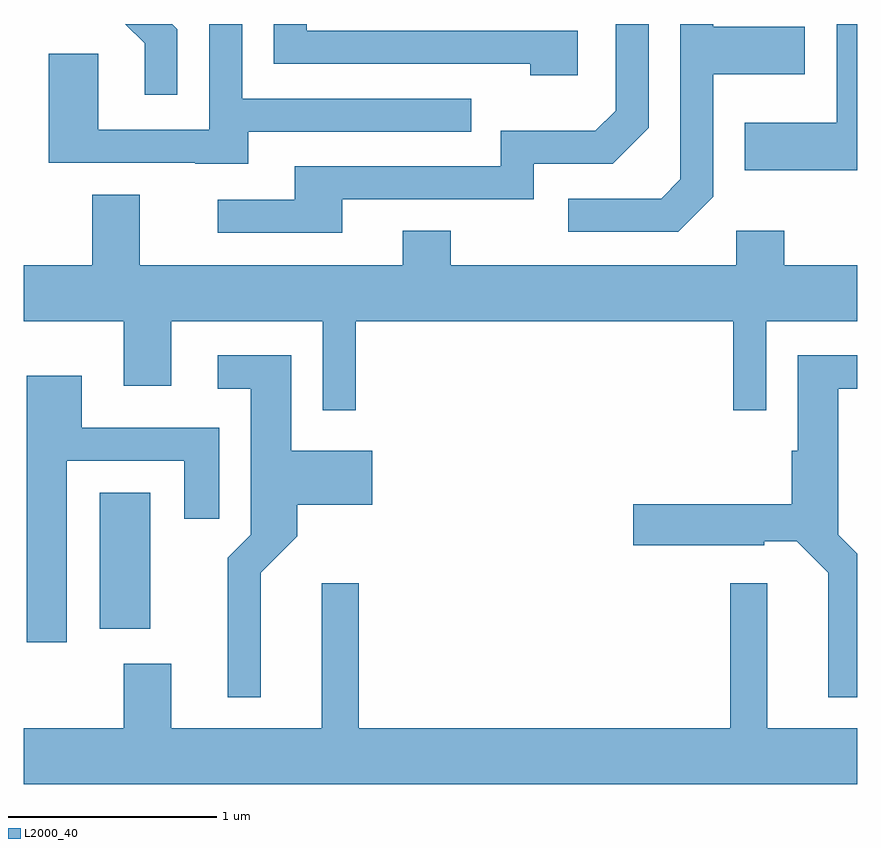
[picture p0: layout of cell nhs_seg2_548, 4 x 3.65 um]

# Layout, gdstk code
import gdstk
lib = gdstk.Library(unit=1e-6, precision=1e-09)
def R(c, l, rs):  # rectangles x0, y0, x1, y1
    for r in rs: c.add(gdstk.rectangle(r[:2], r[2:], *l))
def P(c, l, *ps):  # polygons
    for p in ps: c.add(gdstk.Polygon(p, *l))
L2000_40 = (2000, 40)

nhs_seg2_548 = lib.new_cell('nhs_seg2_548')
R(nhs_seg2_548, L2000_40, [(201.976,986.901,202.219,987.554)])
P(nhs_seg2_548, L2000_40, [(203.139,988.961),(204.059,988.961),(204.059,989.131),(204.437,989.131),(204.609,989.304),(204.609,989.802),(204.451,989.802),(204.451,989.387),(204.354,989.289),(203.901,989.289),(203.901,989.119),(202.911,989.119),(202.911,988.959),(202.543,988.959),(202.543,988.801),(203.139,988.801)],
  [(204.919,988.974),(204.919,989.561),(205.359,989.561),(205.359,989.789),(204.919,989.789),(204.919,989.802),(204.761,989.802),(204.761,989.057),(204.669,988.964),(204.223,988.964),(204.223,988.806),(204.752,988.806)],
  [(202.349,989.777),(202.324,989.802),(202.098,989.802),(202.191,989.709),(202.191,989.463),(202.349,989.463)],
  [(204.269,989.769),(202.969,989.769),(202.969,989.802),(202.811,989.802),(202.811,989.611),(204.041,989.611),(204.041,989.556),(204.269,989.556)],
  [(205.611,989.802),(205.511,989.802),(205.511,989.329),(205.071,989.329),(205.071,989.101),(205.611,989.101)],
  [(202.689,989.286),(203.758,989.286),(203.758,989.444),(202.659,989.444),(202.659,989.802),(202.501,989.802),(202.501,989.294),(201.969,989.294),(201.969,989.659),(201.731,989.659),(201.731,989.136),(202.435,989.136),(202.435,989.131),(202.689,989.131)],
  [(203.204,988.376),(205.016,988.376),(205.016,987.948),(205.174,987.948),(205.174,988.376),(205.611,988.376),(205.611,988.644),(205.259,988.644),(205.259,988.809),(205.031,988.809),(205.031,988.644),(203.659,988.644),(203.659,988.809),(203.431,988.809),(203.431,988.644),(202.169,988.644),(202.169,988.984),(201.941,988.984),(201.941,988.644),(201.611,988.644),(201.611,988.376),(202.091,988.376),(202.091,988.066),(202.319,988.066),(202.319,988.376),(203.046,988.376),(203.046,987.948),(203.204,987.948)],
  [(202.749,987.169),(202.924,987.344),(202.924,987.496),(203.284,987.496),(203.284,987.754),(202.894,987.754),(202.894,988.214),(202.543,988.214),(202.543,988.051),(202.701,988.051),(202.701,987.352),(202.591,987.242),(202.591,986.573),(202.749,986.573)],
  [(205.611,987.26),(205.519,987.352),(205.519,988.051),(205.611,988.051),(205.611,988.214),(205.326,988.214),(205.326,987.754),(205.296,987.754),(205.296,987.499),(204.536,987.499),(204.536,987.301),(205.164,987.301),(205.164,987.321),(205.319,987.321),(205.471,987.169),(205.471,986.573),(205.611,986.573)],
  [(201.819,987.706),(202.381,987.706),(202.381,987.428),(202.549,987.428),(202.549,987.864),(201.889,987.864),(201.889,988.114),(201.626,988.114),(201.626,986.836),(201.819,986.836)],
  [(205.611,986.424),(205.179,986.424),(205.179,987.119),(205.001,987.119),(205.001,986.424),(203.219,986.424),(203.219,987.119),(203.041,987.119),(203.041,986.424),(202.319,986.424),(202.319,986.734),(202.091,986.734),(202.091,986.424),(201.611,986.424),(201.611,986.156),(205.611,986.156)])

lib.write_gds('nhs_seg2_548.gds')
